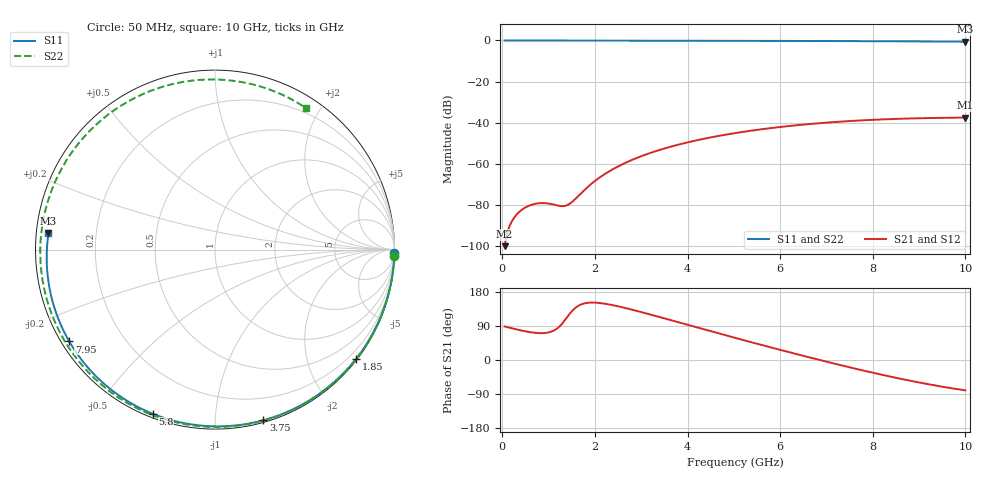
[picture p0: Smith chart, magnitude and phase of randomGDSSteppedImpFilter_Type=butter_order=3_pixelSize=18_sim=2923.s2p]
! freq	dB(S11)	phase(S11)	dB(S12)	phase(S12)
!  dB(S21)	phase(S21)	dB(S22)	phase(S22)
!S-par simulation data
#  GHz  S  DB  R 50
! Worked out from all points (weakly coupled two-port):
!   200 points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, 50 MHz to 10 GHz, reference 50 ohm
!   highest |S21| = -37.56 dB at 10 GHz (marker M1); lowest = -100.2 dB at 50 MHz (marker M2)
!   lowest |S11| = -0.6 dB at 10 GHz (marker M3), VSWR 28.55, Z = 1.76 + j2.47 ohm
!   |S11| at or under -10 dB: nowhere
!   |S22| runs from -0.6 to 0.0 dB; largest |S21 - S12| = 0
!   S11 on the Smith chart (normalised r, x): 50 MHz: open; 1.85 GHz: 0.03, -2.93; 3.75 GHz: 0.02, -1.32; 5.8 GHz: 0.02, -0.69; 7.95 GHz: 0.02, -0.29; 10 GHz: 0.04, +0.05
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0.05  -0.00 -1.0  -100.19 88.6  -100.19 88.6  -0.00 -2.1
0.35  -0.01 -7.3  -83.84 79.5  -83.84 79.5  -0.02 -14.7
0.65  -0.02 -13.4  -79.92 72.6  -79.92 72.6  -0.04 -27.1
0.9  -0.02 -18.5  -79.21 71.0  -79.21 71.0  -0.05 -37.2
1.4  -0.04 -28.7  -80.24 113.0  -80.24 113.0  -0.07 -56.9
1.5  -0.04 -30.7  -78.78 128.4  -78.78 128.4  -0.07 -60.7
1.75  -0.05 -35.7  -73.32 148.6  -73.32 148.6  -0.08 -69.9
1.85  -0.05 -37.7  -71.24 151.0  -71.24 151.0  -0.09 -73.6
2.15  -0.06 -43.7  -66.00 149.7  -66.00 149.7  -0.10 -84.2
2.5  -0.06 -50.5  -61.36 141.7  -61.36 141.7  -0.11 -96.0
2.9  -0.08 -58.2  -57.26 129.7  -57.26 129.7  -0.12 -108.8
3.4  -0.09 -67.7  -53.30 113.2  -53.30 113.2  -0.14 -124.0
3.75  -0.10 -74.2  -51.05 101.3  -51.05 101.3  -0.15 -134.1
4.4  -0.12 -86.1  -47.67 79.3  -47.67 79.3  -0.18 -151.9
5.05  -0.15 -97.7  -45.04 57.6  -45.04 57.6  -0.21 -169.0
5.8  -0.19 -110.8  -42.68 33.1  -42.68 33.1  -0.25 171.9
6.7  -0.25 -126.2  -40.57 4.8  -40.57 4.8  -0.31 149.0
7.3  -0.30 -136.5  -39.54 -13.4  -39.54 -13.4  -0.35 133.5
7.95  -0.36 -147.8  -38.70 -32.2  -38.70 -32.2  -0.39 116.1
8.35  -0.40 -154.8  -38.32 -43.1  -38.32 -43.1  -0.42 105.1
9.2  -0.50 -170.3  -37.79 -63.9  -37.79 -63.9  -0.49 80.9
10  -0.61 174.3  -37.56 -80.1  -37.56 -80.1  -0.56 57.2
